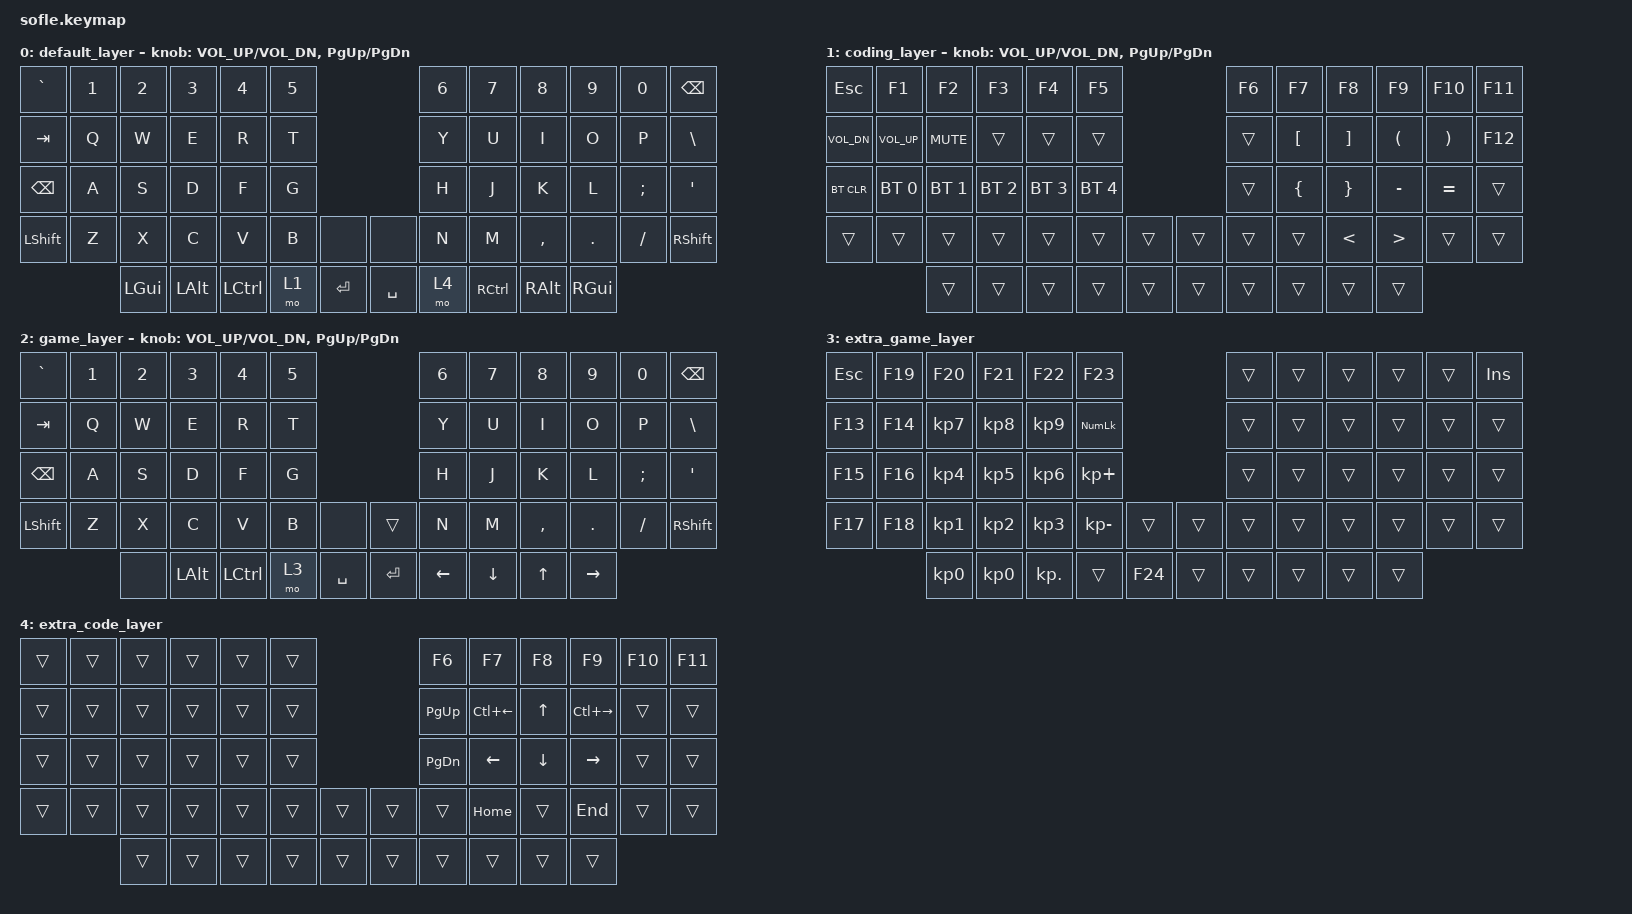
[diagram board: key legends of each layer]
/*
 * Copyright (c) 2020 The ZMK Contributors
 *
 * SPDX-License-Identifier: MIT
 */

#include <behaviors.dtsi>
#include <dt-bindings/zmk/keys.h>
#include <dt-bindings/zmk/bt.h>

/ {
    combos {
        compatible = "zmk,combos";

        goto_game {
            bindings = <&to 2>;
            key-positions = <53 54>;
        };

        goto_default {
            bindings = <&to 0>;
            key-positions = <50 51 52 53>;
        };
    };

    macros {
    };

    keymap {
        compatible = "zmk,keymap";

        default_layer {
            // ------------------------------------------------------------------------------------------------------------
            // |  `    |  1  |  2  |  3   |  4   |  5   |                   |  6   |  7    |  8    |  9   |   0   |       |
            // |  ESC  |  Q  |  W  |  E   |  R   |  T   |                   |  Y   |  U    |  I    |  O   |   P   | BKSPC |
            // |  TAB  |  A  |  S  |  D   |  F   |  G   |                   |  H   |  J    |  K    |  L   |   ;   |   '   |
            // | SHIFT |  Z  |  X  |  C   |  V   |  B   |  MUTE  |  |       |  N   |  M    |  ,    |  .   |   /   | SHIFT |
            //               | GUI | ALT  | CTRL | LOWER|  ENTER |  | SPACE | RAISE| CTRL  | ALT   | GUI  |

            bindings = <
     &kp GRAVE  &kp N1    &kp N2    &kp N3     &kp N4  &kp N5                      &kp N6     &kp N7     &kp N8    &kp N9    &kp N0  &kp BACKSPACE
       &kp TAB   &kp Q     &kp W     &kp E      &kp R   &kp T                       &kp Y      &kp U      &kp I     &kp O     &kp P  &kp BACKSLASH
 &kp BACKSPACE   &kp A     &kp S     &kp D      &kp F   &kp G                       &kp H      &kp J      &kp K     &kp L  &kp SEMI        &kp SQT
     &kp LSHFT   &kp Z     &kp X     &kp C      &kp V   &kp B    &none      &none   &kp N      &kp M  &kp COMMA   &kp DOT  &kp FSLH      &kp RSHFT
                        &kp LGUI  &kp LALT  &kp LCTRL   &mo 1  &kp RET  &kp SPACE   &mo 4  &kp RCTRL   &kp RALT  &kp RGUI
            >;

            sensor-bindings = <&inc_dec_kp C_VOL_UP C_VOL_DN &inc_dec_kp PG_UP PG_DN>;
        };

        coding_layer {
            // TODO: Some binds are waiting for shifted keycode support.
            // ------------------------------------------------------------------------------------------------------------
            // |       |  F1 |  F2 |  F3  |  F4  |  F5  |                   |  F6  |  F7   |  F8   |  F9  |  F10  |  F11  |
            // | `     |   1 |   2 |   3  |   4  |   5  |                   |   6  |   7   |   8   |   9  |    0  |  F12  |
            // |       |  !  |  @  |  #   |  $   |  %   |                   |  ^   |  &    |  *    |  (   |   )   |   |   |
            // |       |  =  |  -  |  +   |  {   |  }   |        |  |       |  [   |  ]    |  ;    |  :   |   \   |       |
            //               |     |      |      |      |        |  |       |      |       |       |      |

            bindings = <
   &kp ESCAPE        &kp F1        &kp F2        &kp F3        &kp F4        &kp F5                  &kp F6            &kp F7             &kp F8     &kp F9    &kp F10  &kp F11
 &kp C_VOL_DN  &kp C_VOL_UP    &kp C_MUTE        &trans        &trans        &trans                  &trans  &kp LEFT_BRACKET  &kp RIGHT_BRACKET   &kp LPAR   &kp RPAR  &kp F12
   &bt BT_CLR  &bt BT_SEL 0  &bt BT_SEL 1  &bt BT_SEL 2  &bt BT_SEL 3  &bt BT_SEL 4                  &trans          &kp LBRC           &kp RBRC  &kp MINUS  &kp EQUAL   &trans
       &trans        &trans        &trans        &trans        &trans        &trans  &trans  &trans  &trans            &trans             &kp LT     &kp GT     &trans   &trans
                                   &trans        &trans        &trans        &trans  &trans  &trans  &trans            &trans             &trans     &trans
            >;

            sensor-bindings = <&inc_dec_kp C_VOL_UP C_VOL_DN &inc_dec_kp PG_UP PG_DN>;
        };

        game_layer {
            // ------------------------------------------------------------------------------------------------------------
            // |BTCLR| BT1  | BT2  |  BT3  |  BT4  |  BT5 |                |      |      |       |      |       |       |
            // |     | INS  | PSCR | GUI   |       |      |                | PGUP |      |   ^   |      |       |       |
            // |     | ALT  | CTRL | SHIFT |       | CAPS |                | PGDN |   <- |   v   |  ->  |  DEL  | BKSPC |
            // |     | UNDO | CUT  | COPY  | PASTE |      |      |  |      |      |      |       |      |       |       |
            //              |      |       |       |      |      |  |      |      |      |       |      |

            bindings = <
      &kp GRAVE  &kp NUMBER_1  &kp N2    &kp N3     &kp N4  &kp N5                           &kp N6    &kp N7     &kp N8      &kp N9         &kp N0     &kp BACKSPACE
        &kp TAB         &kp Q   &kp W     &kp E      &kp R   &kp T                            &kp Y     &kp U      &kp I       &kp O          &kp P     &kp BACKSLASH
  &kp BACKSPACE         &kp A   &kp S     &kp D      &kp F   &kp G                            &kp H     &kp J      &kp K       &kp L  &kp SEMICOLON  &kp SINGLE_QUOTE
 &kp LEFT_SHIFT         &kp Z   &kp X     &kp C      &kp V   &kp B      &none      &trans     &kp N     &kp M  &kp COMMA  &kp PERIOD      &kp SLASH        &kp RSHIFT
                                &none  &kp LALT  &kp LCTRL   &mo 3  &kp SPACE  &kp RETURN  &kp LEFT  &kp DOWN     &kp UP   &kp RIGHT
            >;

            sensor-bindings = <&inc_dec_kp C_VOL_UP C_VOL_DN &inc_dec_kp PG_UP PG_DN>;
        };

        extra_game_layer {
            bindings = <
 &kp ESC  &kp F19          &kp F20          &kp F21          &kp F22         &kp F23                   &trans  &trans  &trans  &trans  &trans  &kp INSERT
 &kp F13  &kp F14  &kp KP_NUMBER_7  &kp KP_NUMBER_8  &kp KP_NUMBER_9  &kp KP_NUMLOCK                   &trans  &trans  &trans  &trans  &trans      &trans
 &kp F15  &kp F16        &kp KP_N4        &kp KP_N5        &kp KP_N6     &kp KP_PLUS                   &trans  &trans  &trans  &trans  &trans      &trans
 &kp F17  &kp F18        &kp KP_N1        &kp KP_N2        &kp KP_N3    &kp KP_MINUS   &trans  &trans  &trans  &trans  &trans  &trans  &trans      &trans
                         &kp KP_N0        &kp KP_N0       &kp KP_DOT          &trans  &kp F24  &trans  &trans  &trans  &trans  &trans
            >;
        };

        extra_code_layer {
            bindings = <
 &trans  &trans  &trans  &trans  &trans  &trans                     &kp F6        &kp F7    &kp F8         &kp F9  &kp F10  &kp F11
 &trans  &trans  &trans  &trans  &trans  &trans                  &kp PG_UP  &kp LC(LEFT)    &kp UP  &kp LC(RIGHT)   &trans   &trans
 &trans  &trans  &trans  &trans  &trans  &trans                  &kp PG_DN      &kp LEFT  &kp DOWN      &kp RIGHT   &trans   &trans
 &trans  &trans  &trans  &trans  &trans  &trans  &trans  &trans     &trans      &kp HOME    &trans        &kp END   &trans   &trans
                 &trans  &trans  &trans  &trans  &trans  &trans     &trans        &trans    &trans         &trans
            >;
        };
    };
};
